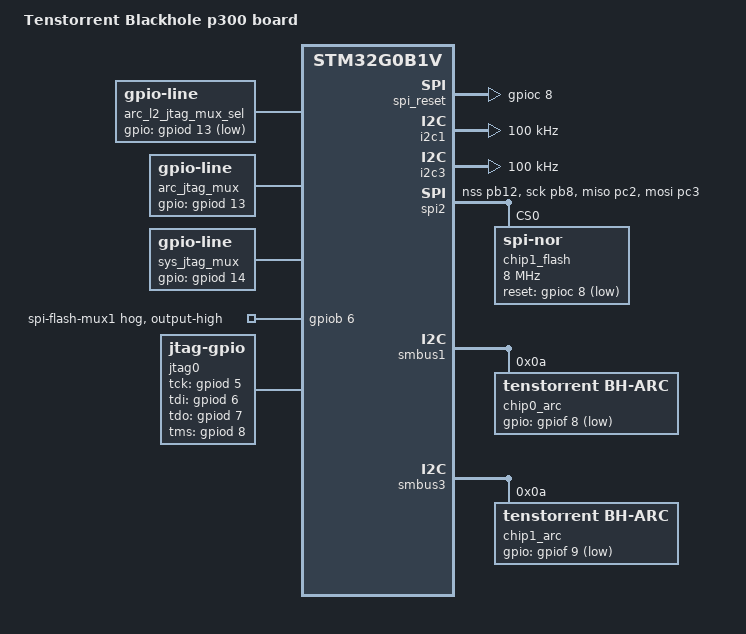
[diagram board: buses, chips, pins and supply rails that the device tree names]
/*
 * Copyright (c) 2024 Tenstorrent AI ULC
 *
 * SPDX-License-Identifier: Apache-2.0
 */

#include <st/g0/stm32g0b1v(b-c-e)ix-pinctrl.dtsi>

/* These two I/O have external pull-ups to 1.8V */
&i2c1_scl_pa9 {
	/delete-property/ bias-pull-up;
};

&i2c1_sda_pa10 {
	/delete-property/ bias-pull-up;
};

/*
 * Left chip is local (comes up in non bifercation mode) this is referred to as chip1
 * in the schematics
 * Right chip is remote, and is referred to as chip0
 */

/delete-node/ &jtag0;
/delete-node/ &chip0_arc;

/ {
	model = "Tenstorrent Blackhole p300 board";
	compatible = "tenstorrent,blackhole,p300";

	chosen {
		zephyr,sram = &sram0;
		zephyr,flash = &flash0;
		zephyr,code-partition = &slot0_partition;
	};

	/* Used to set the ARC_JTAG mux gpio, which is used by the debugger */
	arc_l2_jtag_mux_sel: arc_l2_jtag_mux_enable {
		compatible = "zephyr,gpio-line";
		gpios = <&gpiod 13 GPIO_ACTIVE_LOW>;
	};

	chip1: chip1 {
		compatible = "tenstorrent,bh-chip";

		/* Line to asic reset */
		asic_reset {
			compatible = "zephyr,gpio-line";
			gpios = <&gpiob 1 GPIO_ACTIVE_LOW>;
		};

		/* Line to SPI reset */
		spi_reset {
			compatible = "zephyr,gpio-line";
			gpios = <&gpioc 8 GPIO_ACTIVE_LOW>;
		};

		/* PGOOD signal for asic 1 */
		pgood {
			compatible = "zephyr,gpio-line";
			gpios = <&gpioc 5 GPIO_PULL_DOWN>;
		};

		/* Thermal trip indicator */
		therm_trip {
			compatible = "zephyr,gpio-line";
			gpios = <&gpioc 9 GPIO_ACTIVE_HIGH>;
		};

		jtag {
			compatible = "zephyr,jtag-gpio";
			status = "okay";
			tck-gpios = <&gpiod 9 GPIO_ACTIVE_HIGH>;
			tdi-gpios = <&gpiod 10 GPIO_ACTIVE_HIGH>;
			tdo-gpios = <&gpiod 11 GPIO_ACTIVE_HIGH>;
			tms-gpios = <&gpiod 12 GPIO_ACTIVE_HIGH>;
			port-write-cycles = <2>;
			tck-delay = <1>;
		};

		strapping {
			/* GPIO pin representing strap GPIO6_PCIE_BOOT_INSTANCE */
			gpio6 {
				compatible = "zephyr,gpio-line";
				gpios = <&gpiox0 4 GPIO_ACTIVE_HIGH>;
			};

			/* Use QUAD DDR SPI mode, GPIO[39:38] = 2 is QUAD mode, GPIO40 is DDR_EN */
			/* GPIO pin representing strap GPIO38_SPI_MODE_0 */
			gpio38 {
				compatible = "zephyr,gpio-line";
				gpios = <&gpiox0 13 GPIO_ACTIVE_LOW>;
			};

			/* GPIO pin representing strap GPIO39_SPI_MODE_1 */
			gpio39 {
				compatible = "zephyr,gpio-line";
				gpios = <&gpiox0 14 GPIO_ACTIVE_HIGH>;
			};

			/* GPIO pin representing strap GPIO40_SPI_DDR_EN */
			gpio40 {
				compatible = "zephyr,gpio-line";
				gpios = <&gpiox0 15 GPIO_ACTIVE_HIGH>;
			};
		};

		flash = <&chip1_flash>;

		/* Line to spi mux, drive low to enable dmfw -> eeprom */
		spi_mux {
			compatible = "zephyr,gpio-line";
			gpios = <&gpiob 6 GPIO_ACTIVE_LOW>;
		};

		arc = <&chip1_arc>;
	};

	/* Line to SYS JTAG mux, drive low to enable dmfw -> eeprom */
	arc_jtag_mux {
		compatible = "zephyr,gpio-line";
		gpios = <&gpiod 13 GPIO_ACTIVE_HIGH>;
	};

	/* Line to SYS JTAG mux, drive low to enable dmfw -> eeprom */
	sys_jtag_mux {
		compatible = "zephyr,gpio-line";
		gpios = <&gpiod 14 GPIO_ACTIVE_HIGH>;
	};

	chips {
		compatible = "tenstorrent,bh-chips";
		chips = <&chip1 &chip0>;
		primary = <0>;
	};
};

/* Reduce I2C speed to 100kHz */
&i2c1 {
	clock-frequency = <I2C_BITRATE_STANDARD>;
};

&i2c3 {
	clock-frequency = <I2C_BITRATE_STANDARD>;
};

/*
 * Chip 1
 * sck: PA6
 * SO PC2
 * SI: PC3
 * RST: pc8
 * CS: pb12
 */
&spi2 {
	pinctrl-0 = <&spi2_nss_pb12 &spi2_sck_pb8
		     &spi2_miso_pc2 &spi2_mosi_pc3>;
	pinctrl-names = "default";
	status = "okay";

	chip1_flash: flash@0 {
		/* base properties */
		compatible = "jedec,spi-nor";
		status = "okay";

		reset-gpios = <&gpioc 8 (GPIO_ACTIVE_LOW | GPIO_PULL_UP)>;

		/* spi-device properties */
		reg = <0>;
		spi-max-frequency = <7999999>;
		spi-cpol;
		spi-cpha;

		/* jedec,spi-nor properties */
		size = <DT_SIZE_M(512)>; /* Size in bits */

		/* jedec,spi-nor-common properties */
		has-dpd;
		t-enter-dpd = <3000>;
		t-exit-dpd = <30000>;

		jedec-id = [20 bb 20];
	};
};

&gpiob {
	spi-flash-mux1 {
		gpio-hog;
		gpios = <6 GPIO_ACTIVE_HIGH>;
		output-high;
	};
};

/*
 * Chip 0
 * nss: PA4 CS (spi1_nss_pa4)
 * SO PA11 (spi1_miso_pa11)
 * SI PA12 (spi1_mosi_pa12)
 * RST PC7
 * SCK: pb3 (spi1_sck_pb3)
 */
&chip0 {
	compatible = "tenstorrent,bh-chip";

	jtag0: jtag {
		compatible = "zephyr,jtag-gpio";
		status = "okay";
		tck-gpios = <&gpiod 5 GPIO_ACTIVE_HIGH>;
		tdi-gpios = <&gpiod 6 GPIO_ACTIVE_HIGH>;
		tdo-gpios = <&gpiod 7 GPIO_ACTIVE_HIGH>;
		tms-gpios = <&gpiod 8 GPIO_ACTIVE_HIGH>;
		port-write-cycles = <2>;
		tck-delay = <1>;
	};

	/delete-node/ strapping;

	strapping {
		/* Use QUAD DDR SPI mode, GPIO[39:38] = 2 is QUAD mode, GPIO40 is DDR_EN */
		/* GPIO pin representing strap GPIO38_SPI_MODE_0 */
		gpio38 {
			compatible = "zephyr,gpio-line";
			gpios = <&gpiox1 13 GPIO_ACTIVE_LOW>;
		};

		/* GPIO pin representing strap GPIO39_SPI_MODE_1 */
		gpio39 {
			compatible = "zephyr,gpio-line";
			gpios = <&gpiox1 14 GPIO_ACTIVE_HIGH>;
		};

		/* GPIO pin representing strap GPIO40_SPI_DDR_EN */
		gpio40 {
			compatible = "zephyr,gpio-line";
			gpios = <&gpiox1 15 GPIO_ACTIVE_HIGH>;
		};
	};
};

/*
 * I2C1_SW_EN is F8
 * I2C1 is I2C1
 * I2C1 is Chip0
 */
&smbus1 {
	status = "okay";

	chip0_arc: bh_arc@a {
		compatible = "tenstorrent,bh-arc";
		reg = <0xa>;

		gpios = <&gpiof 8 GPIO_ACTIVE_LOW>;
	};
};

&gpiox0 {
	status = "okay";
};

&gpiox2 {
	status = "disabled";
};

&gpiox3 {
	status = "disabled";
};

&gpiox4 {
	status = "disabled";
};

&gpiox5 {
	status = "disabled";
};

&gpiox6 {
	status = "disabled";
};

&gpiox7 {
	status = "disabled";
};

&gpiox8 {
	status = "disabled";
};

/*
 * I2C0_SW_EN is F9
 * I2C0 is I2C3
 * I2C0 is Chip1
 */
&smbus3 {
	status = "okay";

	chip1_arc: bh_arc@a {
		compatible = "tenstorrent,bh-arc";
		reg = <0xa>;

		gpios = <&gpiof 9 GPIO_ACTIVE_LOW>;
	};
};
